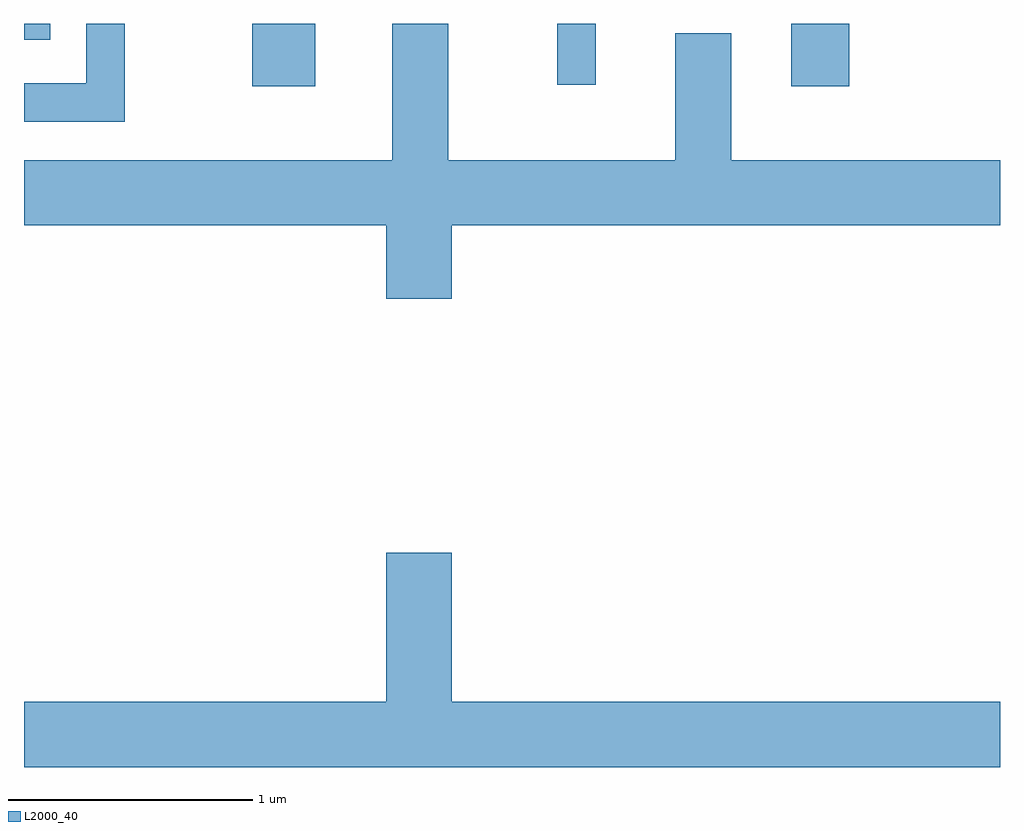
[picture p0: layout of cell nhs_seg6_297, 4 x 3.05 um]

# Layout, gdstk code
import gdstk
lib = gdstk.Library(unit=1e-6, precision=1e-09)
def R(c, l, rs):  # rectangles x0, y0, x1, y1
    for r in rs: c.add(gdstk.rectangle(r[:2], r[2:], *l))
def P(c, l, *ps):  # polygons
    for p in ps: c.add(gdstk.Polygon(p, *l))
L2000_40 = (2000, 40)

nhs_seg6_297 = lib.new_cell('nhs_seg6_297')
R(nhs_seg6_297, L2000_40, [(194.546,1583.906,194.804,1584.162), (196.756,1583.906,196.994,1584.162), (195.796,1583.913,195.954,1584.162), (193.611,1584.096,193.718,1584.162)])
P(nhs_seg6_297, L2000_40, [(195.364,1583.336),(197.611,1583.336),(197.611,1583.604),(196.509,1583.604),(196.509,1584.124),(196.281,1584.124),(196.281,1583.604),(195.349,1583.604),(195.349,1584.162),(195.121,1584.162),(195.121,1583.604),(193.611,1583.604),(193.611,1583.336),(195.096,1583.336),(195.096,1583.036),(195.364,1583.036)],
  [(194.024,1584.162),(193.866,1584.162),(193.866,1583.919),(193.611,1583.919),(193.611,1583.761),(194.024,1583.761)],
  [(197.611,1581.384),(195.364,1581.384),(195.364,1581.994),(195.096,1581.994),(195.096,1581.384),(193.611,1581.384),(193.611,1581.116),(197.611,1581.116)])

lib.write_gds('nhs_seg6_297.gds')
